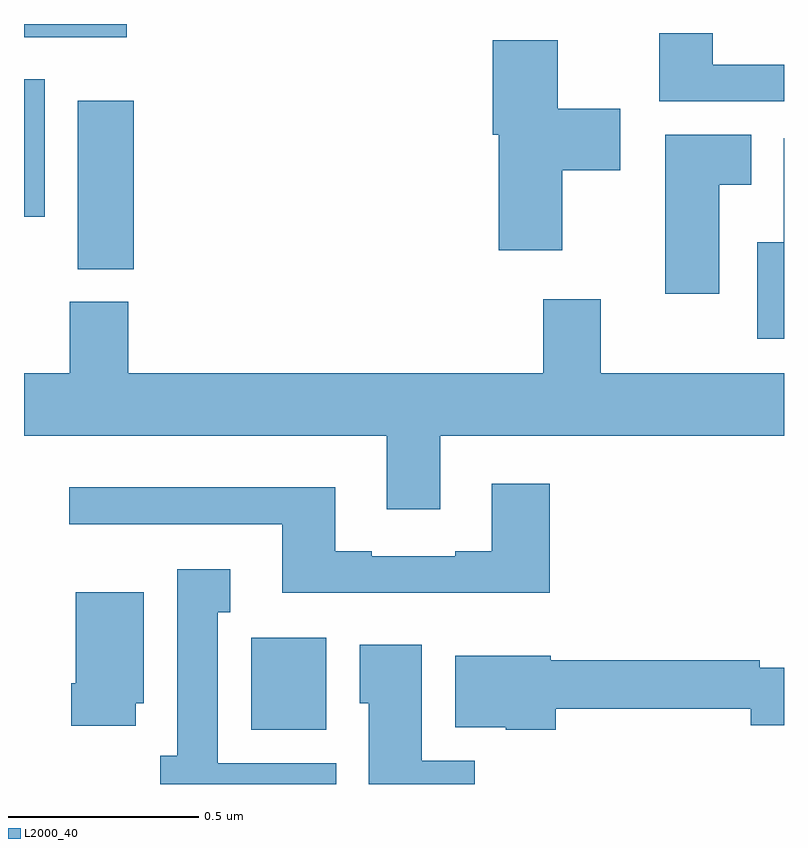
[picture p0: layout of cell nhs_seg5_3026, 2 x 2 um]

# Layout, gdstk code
import gdstk
lib = gdstk.Library(unit=1e-6, precision=1e-09)
def R(c, l, rs):  # rectangles x0, y0, x1, y1
    for r in rs: c.add(gdstk.rectangle(r[:2], r[2:], *l))
def P(c, l, *ps):  # polygons
    for p in ps: c.add(gdstk.Polygon(p, *l))
L2000_40 = (2000, 40)

nhs_seg5_3026 = lib.new_cell('nhs_seg5_3026')
R(nhs_seg5_3026, L2000_40, [(151.598,899.942,151.795,900.184), (151.142,901.153,151.289,901.597), (151,901.292,151.054,901.654), (151,901.764,151.27,901.799)])
P(nhs_seg5_3026, L2000_40, [(153,901.692),(152.812,901.692),(152.812,901.775),(152.672,901.775),(152.672,901.596),(153,901.596)],
  [(152.416,901.414),(152.569,901.414),(152.569,901.576),(152.404,901.576),(152.404,901.756),(152.234,901.756),(152.234,901.507),(152.249,901.507),(152.249,901.203),(152.416,901.203)],
  [(152.83,901.376),(152.914,901.376),(152.914,901.507),(152.687,901.507),(152.687,901.089),(152.83,901.089)],
  [(153,901.499),(152.999,901.499),(152.999,901.225),(152.93,901.225),(152.93,900.971),(153,900.971)],
  [(152.095,900.716),(153,900.716),(153,900.88),(152.518,900.88),(152.518,901.075),(152.366,901.075),(152.366,900.88),(151.274,900.88),(151.274,901.068),(151.121,901.068),(151.121,900.88),(151,900.88),(151,900.716),(151.955,900.716),(151.955,900.522),(152.095,900.522)],
  [(152.384,900.589),(152.231,900.589),(152.231,900.412),(152.135,900.412),(152.135,900.399),(151.915,900.399),(151.915,900.412),(151.819,900.412),(151.819,900.58),(151.119,900.58),(151.119,900.483),(151.679,900.483),(151.679,900.302),(152.384,900.302)],
  [(151.822,899.854),(151.51,899.854),(151.51,900.251),(151.543,900.251),(151.543,900.364),(151.403,900.364),(151.403,899.874),(151.358,899.874),(151.358,899.799),(151.822,899.799)],
  [(151.294,900.012),(151.315,900.012),(151.315,900.304),(151.136,900.304),(151.136,900.064),(151.124,900.064),(151.124,899.952),(151.294,899.952)],
  [(152.186,899.86),(152.047,899.86),(152.047,900.166),(151.883,900.166),(151.883,900.012),(151.907,900.012),(151.907,899.799),(152.186,899.799)],
  [(152.399,899.997),(152.912,899.997),(152.912,899.954),(153,899.954),(153,900.105),(152.936,900.105),(152.936,900.125),(152.386,900.125),(152.386,900.136),(152.135,900.136),(152.135,899.948),(152.268,899.948),(152.268,899.942),(152.399,899.942)])

lib.write_gds('nhs_seg5_3026.gds')
